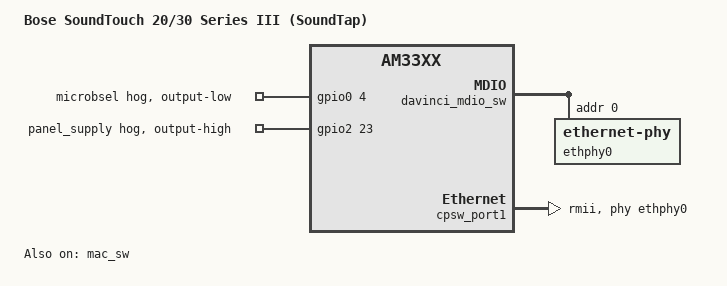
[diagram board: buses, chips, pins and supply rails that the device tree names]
// SPDX-License-Identifier: GPL-2.0-only
// SPDX-FileCopyrightText: 2026 SoundTap contributors
/*
 * SoundTouch 20 and 30 Series III: the ST10's Shelby 2 module in the ST20 and ST30 boxes.
 * Preview, never booted. Compared with the stock spotty_sm2 and mojo_sm2 trees, which are
 * one tree apart from the codec script's name and the sync-out timer: the amplifier, mute,
 * codec and DSP reset lines, the keypad matrix, the IR receiver, Bluetooth's enable and the
 * NAND are all the ST10's, so this is the ST10's tree with what stock changes:
 *
 * - One lamp, the Wi-Fi lamp: stock's shelby-led node has only uledw, on DM timer 4 (the
 *   ST10's wifi-white PWM), and uledy on gpio2_17 (the ST10's wifi-amber).
 * - The ST10's other lamp pads drive the front panel, a bose,ssdspi like the ST20's on
 *   SPI1 chip select 0: chip enable gpio0_12, reset gpio2_9, data/command gpio2_12, and
 *   its supply on gpio2_23 (the PMIC's "disp" regulator). soundtapd drives the panel over
 *   /dev/spidev1.0, which the ST10 tree already has.
 * - gpio0_4 is microbsel, the rear micro-B port's mux, held low as stock holds it.
 * - The rear Ethernet port: stock spotty_sm2 and mojo_sm2 describe it exactly as ginger_sm2
 *   (the SoundTouch 300) does, property for property: rmii1_pins_default, davinci_mdio_default,
 *   one slave in RMII with the PHY at address 0 (phy_id 0x3f:00) and the reference clock from
 *   the board (rmii-clock-ext). So this tree takes the ST300's mac_sw, mdio and cpsw_port nodes,
 *   which took a lease on the ST300 on 2026-11-16, and init.d/soundtap loads the CPSW modules
 *   and runs the eth0 watcher for spotty3 and mojo3 as for the ST300. Not seen on a Series III.
 */
#include "am335x-soundtap-st10.dts"

/ {
	model = "Bose SoundTouch 20/30 Series III (SoundTap)";
	compatible = "bose,spotty3-sm2", "ti,am33xx";

	chosen {
		bootargs = "console=ttyS3,115200n8 root=ubi0:rootfs ro rootfstype=ubifs ubi.mtd=9,2048 rootwait init=/init mem=128M cma=8M panic=10 omap_wdt.early_enable=1 variant=spotty3 module_type=sm2 country=GB region=GB soundtap.nandroot=1 soundtap.watchdog=90";
	};

	leds {
		pinctrl-0 = <&wifi_amber_pins>;
		/delete-node/ bt-white;
		/delete-node/ soundtouch-white;
		/delete-node/ soundtouch-amber;
		/delete-node/ bt-blue;
		/delete-node/ aux-white;
	};
};

&am33xx_pinmux {
	wifi_amber_pins: pinmux-wifi-amber-pins {
		pinctrl-single,pins = <
			AM33XX_PADCONF(AM335X_PIN_LCD_DATA11, PIN_OUTPUT_PULLDOWN, MUX_MODE7) /* gpio2_17 wifi amber */
		>;
	};

	/* Stock rmii1_pins_default and davinci_mdio_default, as on the ST300. */
	rmii1_pins: pinmux-rmii1-pins {
		pinctrl-single,pins = <
			AM33XX_PADCONF(AM335X_PIN_MII1_CRS, PIN_INPUT_PULLDOWN, MUX_MODE1) /* rmii1_crs_dv */
			AM33XX_PADCONF(AM335X_PIN_MII1_RX_ER, PIN_INPUT_PULLDOWN, MUX_MODE1) /* rmii1_rx_er */
			AM33XX_PADCONF(AM335X_PIN_MII1_TX_EN, PIN_OUTPUT_PULLDOWN, MUX_MODE1) /* rmii1_tx_en */
			AM33XX_PADCONF(AM335X_PIN_MII1_TXD1, PIN_OUTPUT_PULLDOWN, MUX_MODE1) /* rmii1_txd1 */
			AM33XX_PADCONF(AM335X_PIN_MII1_TXD0, PIN_OUTPUT_PULLDOWN, MUX_MODE1) /* rmii1_txd0 */
			AM33XX_PADCONF(AM335X_PIN_MII1_RXD1, PIN_INPUT_PULLDOWN, MUX_MODE1) /* rmii1_rxd1 */
			AM33XX_PADCONF(AM335X_PIN_MII1_RXD0, PIN_INPUT_PULLDOWN, MUX_MODE1) /* rmii1_rxd0 */
			AM33XX_PADCONF(AM335X_PIN_RMII1_REF_CLK, PIN_INPUT_PULLDOWN, MUX_MODE0) /* rmii1_refclk */
		>;
	};

	mdio_pins: pinmux-mdio-pins {
		pinctrl-single,pins = <
			AM33XX_PADCONF(AM335X_PIN_MDIO, PIN_INPUT_PULLUP, MUX_MODE0)
			AM33XX_PADCONF(AM335X_PIN_MDC, PIN_OUTPUT_PULLUP, MUX_MODE0)
		>;
	};

	/* Stock ssdspi_pins_default and ncp6922_pins_default, and gpiodev's microbsel. */
	panel_pins: pinmux-panel-pins {
		pinctrl-single,pins = <
			AM33XX_PADCONF(AM335X_PIN_UART1_CTSN, PIN_OUTPUT, MUX_MODE7) /* gpio0_12 panel CE */
			AM33XX_PADCONF(AM335X_PIN_LCD_DATA3, PIN_OUTPUT, MUX_MODE7) /* gpio2_9 panel reset */
			AM33XX_PADCONF(AM335X_PIN_LCD_DATA6, PIN_OUTPUT, MUX_MODE7) /* gpio2_12 panel D/C */
			AM33XX_PADCONF(AM335X_PIN_LCD_HSYNC, PIN_OUTPUT, MUX_MODE7) /* gpio2_23 panel supply */
			AM33XX_PADCONF(AM335X_PIN_SPI0_D1, PIN_OUTPUT, MUX_MODE7) /* gpio0_4 microbsel */
			AM33XX_PADCONF(AM335X_PIN_GPMC_CLK, PIN_INPUT_PULLDOWN, MUX_MODE7) /* gpio2_1 microbdet (stock 0x8c 0x27) */
		>;
	};
};

/* The panel's lines are muxed with the bus it hangs on. */
&spi1 {
	pinctrl-0 = <&spi1_pins &panel_pins>;
};

&gpio0 {
	microbsel-hog {
		gpio-hog;
		gpios = <4 GPIO_ACTIVE_HIGH>;
		output-low;
		line-name = "microbsel";
	};
};

&gpio2 {
	/* Stock's "disp" regulator: a GPIO the panel driver turns on and nothing turns off. */
	panel-supply-hog {
		gpio-hog;
		gpios = <23 GPIO_ACTIVE_HIGH>;
		output-high;
		line-name = "panel_supply";
	};
};

/* Rear Ethernet: RMII, PHY at address 0, reference clock from the board (stock rmii-clock-ext). */
&mac_sw {
	pinctrl-names = "default";
	pinctrl-0 = <&rmii1_pins>;
	status = "okay";
};

&davinci_mdio_sw {
	pinctrl-names = "default";
	pinctrl-0 = <&mdio_pins>;

	ethphy0: ethernet-phy@0 {
		reg = <0>;
	};
};

&cpsw_port1 {
	phy-handle = <&ethphy0>;
	phy-mode = "rmii";
	ti,dual-emac-pvid = <1>;
};

&cpsw_port2 {
	status = "disabled";
};
